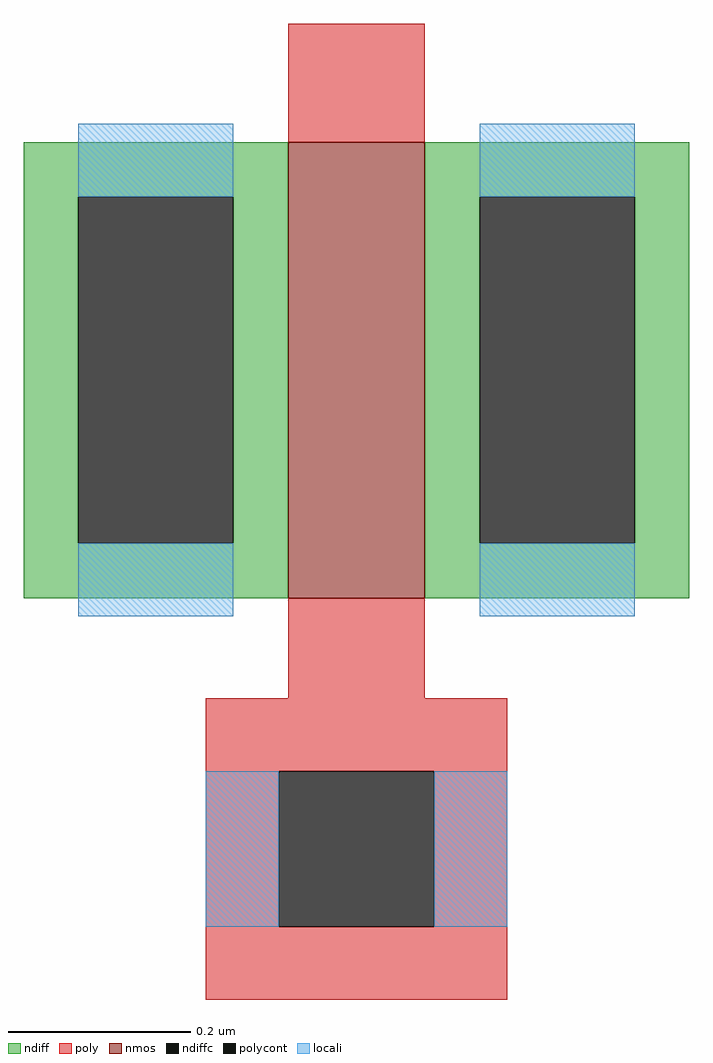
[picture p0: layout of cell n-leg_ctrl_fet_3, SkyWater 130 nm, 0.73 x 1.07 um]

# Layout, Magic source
magic
tech sky130A
magscale 1 2
<< nmos >>
rect -15 -19 15 81
<< ndiff >>
rect -73 69 -15 81
rect -73 -7 -61 69
rect -27 -7 -15 69
rect -73 -19 -15 -7
rect 15 69 73 81
rect 15 -7 27 69
rect 61 -7 73 69
rect 15 -19 73 -7
<< ndiffc >>
rect -61 -7 -27 69
rect 27 -7 61 69
<< poly >>
rect -15 81 15 107
rect -15 -41 15 -19
rect -33 -57 33 -41
rect -33 -91 -17 -57
rect 17 -91 33 -57
rect -33 -107 33 -91
<< polycont >>
rect -17 -91 17 -57
<< locali >>
rect -61 69 -27 85
rect -61 -23 -27 -7
rect 27 69 61 85
rect 27 -23 61 -7
rect -33 -91 -17 -57
rect 17 -91 33 -57
<< properties >>
string gencell sky130_fd_pr__nfet_01v8
string library sky130
string parameters w 0.5 l 0.150 m 1 nf 1 diffcov 100 polycov 100 guard 0 glc 0 grc 0 gtc 0 gbc 0 tbcov 100 rlcov 100 topc 0 botc 1 poverlap 0 doverlap 0 lmin 0.15 wmin 0.42 compatible {sky130_fd_pr__nfet_01v8 sky130_fd_pr__nfet_01v8_lvt  sky130_fd_bs_flash__special_sonosfet_star  sky130_fd_pr__nfet_g5v0d10v5 sky130_fd_pr__nfet_05v0_nvt  sky130_fd_pr__nfet_03v3_nvt} full_metal 0 viasrc 100 viadrn 100 viagate 100 viagb 0 viagr 0 viagl 0 viagt 0
<< end >>
